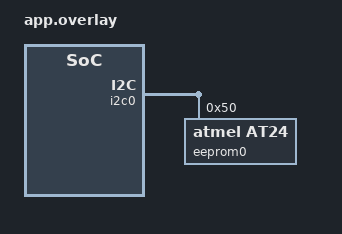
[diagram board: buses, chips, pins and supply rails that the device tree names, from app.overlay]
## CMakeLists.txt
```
# SPDX-License-Identifier: Apache-2.0

cmake_minimum_required(VERSION 3.20.0)
find_package(Zephyr REQUIRED HINTS $ENV{ZEPHYR_BASE})
project(zephyr_i2c_eeprom_storage)

target_sources(app PRIVATE src/main.c)
```

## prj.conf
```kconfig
# SPDX-License-Identifier: Apache-2.0
CONFIG_MAIN_STACK_SIZE=2048
CONFIG_MINIMAL_LIBC=y
CONFIG_PICOLIBC=n
CONFIG_I2C=y
CONFIG_EEPROM=y
CONFIG_EEPROM_AT24=y
CONFIG_CRC=y
CONFIG_MPU_ALLOW_FLASH_WRITE=y
```

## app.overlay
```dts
/*
 * SPDX-License-Identifier: Apache-2.0
 *
 * Devicetree overlay for Zephyr EEPROM storage target on Microchip 24LC256
 * (atmel,at24) attached to nRF52840 i2c0 (twi0 @ 0x40003000, slave address 0x50).
 */

&qspi {
    status = "disabled";
};

&flash0 {
    /delete-node/ partitions;

    partitions {
        compatible = "fixed-partitions";
        #address-cells = <1>;
        #size-cells = <1>;

        boot_partition: partition@0 {
            label = "mcuboot";
            reg = <0x00000000 0x0000C000>;
        };
        slot0_partition: partition@c000 {
            label = "image-0";
            reg = <0x0000C000 0x00020000>;
        };
    };
};

&i2c0 {
    compatible = "nordic,nrf-twi";
    status = "okay";

    eeprom0: eeprom@50 {
        compatible = "atmel,at24";
        reg = <0x50>;
        size = <32768>;
        pagesize = <64>;
        address-width = <16>;
        timeout = <5>;
    };
};

/ {
    aliases {
        eeprom-0 = &eeprom0;
    };
    chosen {
        zephyr,code-partition = &boot_partition;
    };
};
```

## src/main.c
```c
/*
 * Copyright (c) 2026 Neil Berkman
 * SPDX-License-Identifier: Apache-2.0
 *
 * Zephyr EEPROM storage target running on external 24-series I2C EEPROM
 * (Microchip 24LC256 via Zephyr's `atmel,at24` driver on nRF52840 TWI0 @ 0x50).
 *
 * Storage layout (64-byte page-aligned CRC-protected records):
 *   - Page 0 (0x0000..0x003F): Pre-cut anchor record A (key=1, payload[0]=0xDEADBEEF)
 *   - Page 1 (0x0040..0x007F): Pre-cut anchor record B (key=2, payload[0]=0x55667788)
 *   - Pages 2..5 (0x0080..0x017F): 4 journaled update pages written during runtime.
 *
 * On each boot:
 *   1. Reads back pre-cut anchor records A and B via eeprom_read() over I2C0
 *      and validates their magic and IEEE CRC-32.
 *   2. Scans journal pages 2..5 via eeprom_read(): any page left partially
 *      committed by a power cut during the EEPROM internal write cycle (t_WR)
 *      fails CRC-32 validation and is cleanly discarded in favor of the latest
 *      valid committed sequence.
 *   3. Writes 4 new 64-byte journal pages via eeprom_write() over I2C0.
 *   4. Re-reads pre-cut anchor records A and B via eeprom_read(), publishes the
 *      read-back values and verification status to SRAM at 0x2003F000..0x2003F00C,
 *      for the audit harness to evaluate directly.
 */

#include <zephyr/kernel.h>
#include <zephyr/device.h>
#include <zephyr/drivers/eeprom.h>
#include <zephyr/sys/crc.h>
#include <cmsis_core.h>
#include <stdint.h>
#include <string.h>

#define EEPROM_NODE            DT_ALIAS(eeprom_0)
#define EEPROM_PAGE_SIZE       64U
#define RECORD_MAGIC           0x45455052UL /* "EEPR" */

#define EXPECTED_ANCHOR_A      0xDEADBEEFUL
#define EXPECTED_ANCHOR_B      0x55667788UL

#define RESULT_SRAM_BASE       0x2003F000UL

struct eeprom_page_record {
    uint32_t magic;
    uint32_t key;
    uint32_t sequence;
    uint32_t payload[12];
    uint32_t crc32;
};

struct sram_verdict {
    volatile uint32_t magic;
    volatile uint32_t anchor_a_value;
    volatile uint32_t anchor_b_value;
    volatile uint32_t status_ok;
    volatile uint32_t latest_sequence;
};

static uint32_t compute_record_crc(const struct eeprom_page_record *rec)
{
    return crc32_ieee((const uint8_t *)rec,
                      sizeof(struct eeprom_page_record) - sizeof(uint32_t));
}

static bool record_is_valid(const struct eeprom_page_record *rec, uint32_t expected_key)
{
    if (rec->magic != RECORD_MAGIC) {
        return false;
    }
    if (expected_key != 0U && rec->key != expected_key) {
        return false;
    }
    return compute_record_crc(rec) == rec->crc32;
}

int main(void)
{
    struct sram_verdict *verdict = (struct sram_verdict *)RESULT_SRAM_BASE;
    const struct device *eeprom = DEVICE_DT_GET(EEPROM_NODE);
    struct eeprom_page_record rec_a;
    struct eeprom_page_record rec_b;
    int rc;

    verdict->magic = 0U;
    verdict->anchor_a_value = 0U;
    verdict->anchor_b_value = 0U;
    verdict->status_ok = 0U;
    verdict->latest_sequence = 0U;

    if (!device_is_ready(eeprom)) {
        verdict->magic = 0xBAD10001UL;
        goto halt;
    }

    /* 1. Read back pre-cut anchor records from pages 0 and 1. */
    rc = eeprom_read(eeprom, 0U * EEPROM_PAGE_SIZE, &rec_a, sizeof(rec_a));
    if (rc != 0 || !record_is_valid(&rec_a, 1U)) {
        verdict->magic = 0xBAD10002UL;
        goto halt;
    }
    rc = eeprom_read(eeprom, 1U * EEPROM_PAGE_SIZE, &rec_b, sizeof(rec_b));
    if (rc != 0 || !record_is_valid(&rec_b, 2U)) {
        verdict->magic = 0xBAD10003UL;
        goto halt;
    }

    /* 2. Scan journal pages 2..5; ignore any torn page interrupted mid-write-cycle. */
    uint32_t best_seq = 0U;
    for (uint32_t p = 2U; p < 6U; p++) {
        struct eeprom_page_record jrec;
        rc = eeprom_read(eeprom, p * EEPROM_PAGE_SIZE, &jrec, sizeof(jrec));
        if (rc == 0 && record_is_valid(&jrec, 3U)) {
            if (jrec.sequence > best_seq) {
                best_seq = jrec.sequence;
            }
        }
    }

    /* 3. Write 4 new 64-byte journal pages across pages 2..5. */
    for (uint32_t step = 0U; step < 4U; step++) {
        struct eeprom_page_record wrec;
        best_seq++;
        wrec.magic = RECORD_MAGIC;
        wrec.key = 3U;
        wrec.sequence = best_seq;
        for (uint32_t i = 0U; i < 12U; i++) {
            wrec.payload[i] = (0xA0000000UL | (best_seq << 8) | i) ^ rec_a.payload[0];
        }
        wrec.crc32 = compute_record_crc(&wrec);

        uint32_t target_page = 2U + (step & 3U);
        rc = eeprom_write(eeprom, target_page * EEPROM_PAGE_SIZE, &wrec, sizeof(wrec));
        if (rc != 0) {
            verdict->magic = 0xBAD10004UL;
            goto halt;
        }
    }

    /* 4. Re-read pre-cut anchor records A and B and verify integrity. */
    struct eeprom_page_record verify_a;
    struct eeprom_page_record verify_b;
    int ra = eeprom_read(eeprom, 0U * EEPROM_PAGE_SIZE, &verify_a, sizeof(verify_a));
    int rb = eeprom_read(eeprom, 1U * EEPROM_PAGE_SIZE, &verify_b, sizeof(verify_b));

    verdict->magic = RECORD_MAGIC;
    verdict->anchor_a_value = verify_a.payload[0];
    verdict->anchor_b_value = verify_b.payload[0];
    verdict->latest_sequence = best_seq;
    if (ra == 0 && rb == 0 &&
        record_is_valid(&verify_a, 1U) &&
        record_is_valid(&verify_b, 2U) &&
        verify_a.payload[0] == EXPECTED_ANCHOR_A &&
        verify_b.payload[0] == EXPECTED_ANCHOR_B) {
        verdict->status_ok = 1U;
    } else {
        verdict->status_ok = 0U;
    }

    (void)irq_lock();
halt:
    (void)irq_lock();
    while (1) {
        __NOP();
    }
    return 0;
}
```
